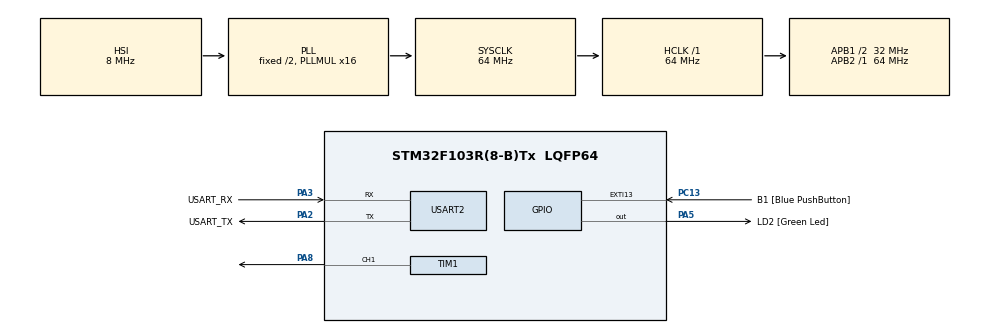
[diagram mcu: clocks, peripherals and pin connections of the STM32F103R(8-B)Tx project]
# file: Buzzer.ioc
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Mcu.Family=STM32F1
Mcu.Name=STM32F103R(8-B)Tx
Mcu.Package=LQFP64
NVIC.EXTI15_10_IRQn=true\:0\:0\:false\:false\:true\:true\:true\:true
NVIC.PriorityGroup=NVIC_PRIORITYGROUP_4
PA13.GPIO_Label=TMS
PA13.Mode=Serial_Wire
PA13.Signal=SYS_JTMS-SWDIO
PA14.GPIO_Label=TCK
PA14.Mode=Serial_Wire
PA14.Signal=SYS_JTCK-SWCLK
PA2.GPIO_Label=USART_TX
PA2.GPIO_Mode=GPIO_MODE_AF_PP
PA2.GPIO_PuPd=GPIO_NOPULL
PA2.GPIO_Speed=GPIO_SPEED_FREQ_LOW
PA2.Mode=Asynchronous
PA2.Signal=USART2_TX
PA3.GPIO_Label=USART_RX
PA3.GPIO_Mode=GPIO_MODE_AF_PP
PA3.GPIO_PuPd=GPIO_NOPULL
PA3.GPIO_Speed=GPIO_SPEED_FREQ_LOW
PA3.Mode=Asynchronous
PA3.Signal=USART2_RX
PA5.GPIO_Label=LD2 [Green Led]
PA5.GPIO_ModeDefaultOutputPP=GPIO_MODE_OUTPUT_PP
PA5.GPIO_PuPd=GPIO_NOPULL
PA5.GPIO_Speed=GPIO_SPEED_FREQ_LOW
PA5.Signal=GPIO_Output
PA8.Signal=S_TIM1_CH1
PB3.GPIO_Label=SWO
PB3.Signal=SYS_JTDO-TRACESWO
PC13-TAMPER-RTC.GPIO_Label=B1 [Blue PushButton]
PC13-TAMPER-RTC.GPIO_PuPd=GPIO_NOPULL
PC13-TAMPER-RTC.Signal=GPXTI13
PC14-OSC32_IN.Signal=RCC_OSC32_IN
PC15-OSC32_OUT.Signal=RCC_OSC32_OUT
PD0-OSC_IN.Signal=RCC_OSC_IN
PD1-OSC_OUT.Signal=RCC_OSC_OUT
ProjectManager.HeapSize=0x200
ProjectManager.StackSize=0x400
ProjectManager.TargetToolchain=STM32CubeIDE
RCC.AHBFreq_Value=64000000
RCC.APB1CLKDivider=RCC_HCLK_DIV2
RCC.APB1Freq_Value=32000000
RCC.APB1TimFreq_Value=64000000
RCC.APB2Freq_Value=64000000
RCC.APB2TimFreq_Value=64000000
RCC.HCLKFreq_Value=64000000
RCC.PLLMUL=RCC_PLL_MUL16
RCC.RTCClockSelection=RCC_RTCCLKSOURCE_LSE
RCC.SYSCLKFreq_VALUE=64000000
RCC.SYSCLKSource=RCC_SYSCLKSOURCE_PLLCLK
RCC.USBFreq_Value=64000000
SH.S_TIM1_CH1.0=TIM1_CH1,PWM Generation1 CH1
TIM1.Channel-PWM\ Generation1\ CH1=TIM_CHANNEL_1
TIM1.Period=1000
TIM1.Prescaler=64-1
TIM1.Pulse-PWM\ Generation1\ CH1=500
USART2.VirtualMode=VM_ASYNC
VP_TIM1_VS_ClockSourceINT.Mode=Internal
board=NUCLEO-F103RB

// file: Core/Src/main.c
/* USER CODE BEGIN Header */
/**
 ******************************************************************************
 * @file           : main.c
 * @brief          : Main program body
 ******************************************************************************
 * @attention
 *
 * Copyright (c) 2025 STMicroelectronics.
 * All rights reserved.
 *
 * This software is licensed under terms that can be found in the LICENSE file
 * in the root directory of this software component.
 * If no LICENSE file comes with this software, it is provided AS-IS.
 *
 ******************************************************************************
 */
/* USER CODE END Header */
#include "main.h"

/* USER CODE BEGIN PD */
// 음표 주파수 정의 (Hz)
#define NOTE_C4  262
#define NOTE_CS4 277
#define NOTE_D4  294
#define NOTE_DS4 311
#define NOTE_E4  330
#define NOTE_F4  349
#define NOTE_FS4 370
#define NOTE_G4  392
#define NOTE_GS4 415
#define NOTE_A4  440
#define NOTE_AS4 466
#define NOTE_B4  494
#define NOTE_C5  523
#define NOTE_CS5 554
#define NOTE_D5  587
#define NOTE_DS5 622
#define NOTE_E5  659
#define NOTE_F5  698
#define NOTE_FS5 740
#define NOTE_G5  784
#define NOTE_GS5 831
#define NOTE_A5  880
#define NOTE_AS5 932
#define NOTE_B5  988
#define NOTE_C6  1047
#define NOTE_CS6 1109
#define NOTE_D6  1175
#define NOTE_DS6 1245
#define NOTE_E6  1319
#define NOTE_F6  1397
#define NOTE_FS6 1480
#define NOTE_G6  1568
#define NOTE_GS6 1661
#define NOTE_A6  1760
#define NOTE_AS6 1865
#define NOTE_B6  1976
#define NOTE_C7  2093
#define NOTE_CS7 2217
#define NOTE_D7  2349
#define NOTE_DS7 2489
#define NOTE_E7  2637
#define NOTE_F7  2794
#define NOTE_FS7 2960
#define NOTE_G7  3136
#define NOTE_GS7 3322
#define NOTE_A7  3520
#define NOTE_AS7 3729
#define NOTE_B7  3951

#define REST 0

// 음표 길이 정의 (밀리초)
#define WHOLE     1400      // 원래 2000
#define HALF      700       // 원래 1000
#define QUARTER   350      // 원래 500
#define EIGHTH    175       // 원래 250
#define SIXTEENTH 90       // 원래 125
/* USER CODE END PD */

TIM_HandleTypeDef htim1;

UART_HandleTypeDef huart2;

/* USER CODE BEGIN PV */
typedef struct {
	uint16_t frequency;
	uint16_t duration;
} Note;

const Note mario_theme[] = {
// 첫 번째 구간
		{ NOTE_E7, EIGHTH }, { NOTE_E7, EIGHTH }, { REST, EIGHTH }, { NOTE_E7,
		EIGHTH }, { REST, EIGHTH }, { NOTE_C7, EIGHTH }, { NOTE_E7,
		EIGHTH }, { REST, EIGHTH }, { NOTE_G7, QUARTER }, { REST,
		QUARTER }, { NOTE_G6, QUARTER }, { REST, QUARTER },

		// 두 번째 구간
		{ NOTE_C7, QUARTER }, { REST, EIGHTH }, { NOTE_G6, EIGHTH }, { REST,
		EIGHTH }, { NOTE_E6, QUARTER }, { REST, EIGHTH }, { NOTE_A6,
		EIGHTH }, { REST, EIGHTH }, { NOTE_B6, EIGHTH }, { REST, EIGHTH }, {
				NOTE_AS6, EIGHTH }, { NOTE_A6, QUARTER },

		// 세 번째 구간
		{ NOTE_G6, EIGHTH }, { NOTE_E7, EIGHTH }, { NOTE_G7, EIGHTH }, {
		NOTE_A7, QUARTER }, { NOTE_F7, EIGHTH }, { NOTE_G7, EIGHTH }, {
		REST, EIGHTH }, { NOTE_E7, EIGHTH }, { REST, EIGHTH }, {
		NOTE_C7, EIGHTH }, { NOTE_D7, EIGHTH }, { NOTE_B6, QUARTER },

		// 반복 구간
		{ NOTE_C7, QUARTER }, { REST, EIGHTH }, { NOTE_G6, EIGHTH }, { REST,
		EIGHTH }, { NOTE_E6, QUARTER }, { REST, EIGHTH }, { NOTE_A6,
		EIGHTH }, { REST, EIGHTH }, { NOTE_B6, EIGHTH }, { REST, EIGHTH }, {
				NOTE_AS6, EIGHTH }, { NOTE_A6, QUARTER },

		{ NOTE_G6, EIGHTH }, { NOTE_E7, EIGHTH }, { NOTE_G7, EIGHTH }, {
		NOTE_A7, QUARTER }, { NOTE_F7, EIGHTH }, { NOTE_G7, EIGHTH }, {
		REST, EIGHTH }, { NOTE_E7, EIGHTH }, { REST, EIGHTH }, {
		NOTE_C7, EIGHTH }, { NOTE_D7, EIGHTH }, { NOTE_B6, QUARTER },

		// 마무리
		{ REST, QUARTER }, { NOTE_G7, EIGHTH }, { NOTE_FS7, EIGHTH }, { NOTE_F7,
		EIGHTH }, { NOTE_DS7, QUARTER }, { NOTE_E7, EIGHTH }, { REST,
		EIGHTH }, { NOTE_GS6, EIGHTH }, { NOTE_A6, EIGHTH }, { NOTE_C7,
		EIGHTH }, { REST, EIGHTH }, { NOTE_A6, EIGHTH }, { NOTE_C7,
		EIGHTH }, { NOTE_D7, EIGHTH } };

const int mario_theme_length = sizeof(mario_theme) / sizeof(mario_theme[0]);

const Note Merry_Christmas[] = {

		{NOTE_E5, EIGHTH }, { NOTE_E5, EIGHTH }, { NOTE_E5, QUARTER }, { NOTE_E5,EIGHTH }, { NOTE_E5, EIGHTH }, { NOTE_E5, QUARTER },
		{NOTE_E5, EIGHTH }, { NOTE_G5, EIGHTH }, { NOTE_C5, EIGHTH }, { NOTE_D5, EIGHTH }, { NOTE_E5, HALF }, { NOTE_F5, EIGHTH },
		{NOTE_F5, EIGHTH }, { NOTE_F5, EIGHTH }, { NOTE_F5, EIGHTH }, { NOTE_F5,EIGHTH }, { NOTE_E5, EIGHTH }, { NOTE_E5, EIGHTH },
		{NOTE_E5, SIXTEENTH }, { NOTE_E5, SIXTEENTH }, { NOTE_E5, EIGHTH }, {NOTE_D5, EIGHTH }, { NOTE_D5, EIGHTH }, { NOTE_E5, EIGHTH },
		{NOTE_D5, QUARTER }, { NOTE_G5, QUARTER }

};
const int merry_christmas_length = sizeof(Merry_Christmas)
		/ sizeof(Merry_Christmas[0]);
/* USER CODE END PV */

void SystemClock_Config(void);
static void MX_GPIO_Init(void);
static void MX_USART2_UART_Init(void);
static void MX_TIM1_Init(void);
/* USER CODE BEGIN PFP */
void play_tone(uint16_t frequency, uint16_t duration);
void play_mario_theme(void);
/* USER CODE END PFP */

/* USER CODE BEGIN 0 */
void play_tone(uint16_t frequency, uint16_t duration) {
	if (frequency == 0) {
		// 무음 처리
		HAL_TIM_PWM_Stop(&htim1, TIM_CHANNEL_1);
	} else {
		// 주파수에 따른 ARR 값 계산
		// APB2 클록이 72MHz이고, Prescaler가 72-1이면 1MHz
		// ARR = 1000000 / frequency - 1
		uint32_t arr_value = 1000000 / frequency - 1;

		// 타이머 설정 업데이트
		__HAL_TIM_SET_AUTORELOAD(&htim1, arr_value);
		__HAL_TIM_SET_COMPARE(&htim1, TIM_CHANNEL_1, arr_value / 2); // 50% duty cycle

		// PWM 시작
		HAL_TIM_PWM_Start(&htim1, TIM_CHANNEL_1);
	}

	// 지정된 시간만큼 대기
	HAL_Delay(duration);

	// 톤 정지
	HAL_TIM_PWM_Stop(&htim1, TIM_CHANNEL_1);

	// 음표 사이의 짧은 간격 (더 빠른 연주를 위해 단축)
	HAL_Delay(100);
}

/**
 * @brief 마리오 테마 음악 재생
 */
void play_mario_theme(void) {
	for (int i = 0; i < mario_theme_length; i++) {
		play_tone(mario_theme[i].frequency, mario_theme[i].duration);
	}
}

void play_merry_christmas(void) {
	for (int i = 0; i < merry_christmas_length; i++) {
		play_tone(Merry_Christmas[i].frequency, Merry_Christmas[i].duration);
	}
}
/* USER CODE END 0 */

int main(void) {

	/* MCU Configuration--------------------------------------------------------*/

	/* Reset of all peripherals, Initializes the Flash interface and the Systick. */
	HAL_Init();

	/* Configure the system clock */
	SystemClock_Config();

	/* Initialize all configured peripherals */
	MX_GPIO_Init();
	MX_USART2_UART_Init();
	MX_TIM1_Init();

	/* Infinite loop */
	/* USER CODE BEGIN WHILE */
	while (1) {
		// 마리오 테마 음악 재생
		//play_mario_theme();
		play_merry_christmas();

		// 음악 종료 후 5초 대기
		HAL_Delay(1);
		/* USER CODE END WHILE */

	}
}

void SystemClock_Config(void) {
	RCC_OscInitTypeDef RCC_OscInitStruct = { 0 };
	RCC_ClkInitTypeDef RCC_ClkInitStruct = { 0 };

	/** Initializes the RCC Oscillators according to the specified parameters
	 * in the RCC_OscInitTypeDef structure.
	 */
	RCC_OscInitStruct.OscillatorType = RCC_OSCILLATORTYPE_HSI;
	RCC_OscInitStruct.HSIState = RCC_HSI_ON;
	RCC_OscInitStruct.HSICalibrationValue = RCC_HSICALIBRATION_DEFAULT;
	RCC_OscInitStruct.PLL.PLLState = RCC_PLL_ON;
	RCC_OscInitStruct.PLL.PLLSource = RCC_PLLSOURCE_HSI_DIV2;
	RCC_OscInitStruct.PLL.PLLMUL = RCC_PLL_MUL16;
	if (HAL_RCC_OscConfig(&RCC_OscInitStruct) != HAL_OK) {
		Error_Handler();
	}

	/** Initializes the CPU, AHB and APB buses clocks
	 */
	RCC_ClkInitStruct.ClockType = RCC_CLOCKTYPE_HCLK | RCC_CLOCKTYPE_SYSCLK
			| RCC_CLOCKTYPE_PCLK1 | RCC_CLOCKTYPE_PCLK2;
	RCC_ClkInitStruct.SYSCLKSource = RCC_SYSCLKSOURCE_PLLCLK;
	RCC_ClkInitStruct.AHBCLKDivider = RCC_SYSCLK_DIV1;
	RCC_ClkInitStruct.APB1CLKDivider = RCC_HCLK_DIV2;
	RCC_ClkInitStruct.APB2CLKDivider = RCC_HCLK_DIV1;

	if (HAL_RCC_ClockConfig(&RCC_ClkInitStruct, FLASH_LATENCY_2) != HAL_OK) {
		Error_Handler();
	}
}

static void MX_TIM1_Init(void) {

	TIM_ClockConfigTypeDef sClockSourceConfig = { 0 };
	TIM_MasterConfigTypeDef sMasterConfig = { 0 };
	TIM_OC_InitTypeDef sConfigOC = { 0 };
	TIM_BreakDeadTimeConfigTypeDef sBreakDeadTimeConfig = { 0 };

	htim1.Instance = TIM1;
	htim1.Init.Prescaler = 64 - 1;
	htim1.Init.CounterMode = TIM_COUNTERMODE_UP;
	htim1.Init.Period = 1000;
	htim1.Init.ClockDivision = TIM_CLOCKDIVISION_DIV1;
	htim1.Init.RepetitionCounter = 0;
	htim1.Init.AutoReloadPreload = TIM_AUTORELOAD_PRELOAD_DISABLE;
	if (HAL_TIM_Base_Init(&htim1) != HAL_OK) {
		Error_Handler();
	}
	sClockSourceConfig.ClockSource = TIM_CLOCKSOURCE_INTERNAL;
	if (HAL_TIM_ConfigClockSource(&htim1, &sClockSourceConfig) != HAL_OK) {
		Error_Handler();
	}
	if (HAL_TIM_PWM_Init(&htim1) != HAL_OK) {
		Error_Handler();
	}
	sMasterConfig.MasterOutputTrigger = TIM_TRGO_RESET;
	sMasterConfig.MasterSlaveMode = TIM_MASTERSLAVEMODE_DISABLE;
	if (HAL_TIMEx_MasterConfigSynchronization(&htim1, &sMasterConfig)
			!= HAL_OK) {
		Error_Handler();
	}
	sConfigOC.OCMode = TIM_OCMODE_PWM1;
	sConfigOC.Pulse = 800;
	sConfigOC.OCPolarity = TIM_OCPOLARITY_HIGH;
	sConfigOC.OCNPolarity = TIM_OCNPOLARITY_HIGH;
	sConfigOC.OCFastMode = TIM_OCFAST_DISABLE;
	sConfigOC.OCIdleState = TIM_OCIDLESTATE_RESET;
	sConfigOC.OCNIdleState = TIM_OCNIDLESTATE_RESET;
	if (HAL_TIM_PWM_ConfigChannel(&htim1, &sConfigOC, TIM_CHANNEL_1)
			!= HAL_OK) {
		Error_Handler();
	}
	sBreakDeadTimeConfig.OffStateRunMode = TIM_OSSR_DISABLE;
	sBreakDeadTimeConfig.OffStateIDLEMode = TIM_OSSI_DISABLE;
	sBreakDeadTimeConfig.LockLevel = TIM_LOCKLEVEL_OFF;
	sBreakDeadTimeConfig.DeadTime = 0;
	sBreakDeadTimeConfig.BreakState = TIM_BREAK_DISABLE;
	sBreakDeadTimeConfig.BreakPolarity = TIM_BREAKPOLARITY_HIGH;
	sBreakDeadTimeConfig.AutomaticOutput = TIM_AUTOMATICOUTPUT_DISABLE;
	if (HAL_TIMEx_ConfigBreakDeadTime(&htim1, &sBreakDeadTimeConfig)
			!= HAL_OK) {
		Error_Handler();
	}
	HAL_TIM_MspPostInit(&htim1);

}

static void MX_USART2_UART_Init(void) {

	huart2.Instance = USART2;
	huart2.Init.BaudRate = 115200;
	huart2.Init.WordLength = UART_WORDLENGTH_8B;
	huart2.Init.StopBits = UART_STOPBITS_1;
	huart2.Init.Parity = UART_PARITY_NONE;
	huart2.Init.Mode = UART_MODE_TX_RX;
	huart2.Init.HwFlowCtl = UART_HWCONTROL_NONE;
	huart2.Init.OverSampling = UART_OVERSAMPLING_16;
	if (HAL_UART_Init(&huart2) != HAL_OK) {
		Error_Handler();
	}

}

static void MX_GPIO_Init(void) {
	GPIO_InitTypeDef GPIO_InitStruct = { 0 };

	/* GPIO Ports Clock Enable */
	__HAL_RCC_GPIOC_CLK_ENABLE();
	__HAL_RCC_GPIOD_CLK_ENABLE();
	__HAL_RCC_GPIOA_CLK_ENABLE();
	__HAL_RCC_GPIOB_CLK_ENABLE();

	/*Configure GPIO pin Output Level */
	HAL_GPIO_WritePin(LD2_GPIO_Port, LD2_Pin, GPIO_PIN_RESET);

	/*Configure GPIO pin : B1_Pin */
	GPIO_InitStruct.Pin = B1_Pin;
	GPIO_InitStruct.Mode = GPIO_MODE_IT_RISING;
	GPIO_InitStruct.Pull = GPIO_NOPULL;
	HAL_GPIO_Init(B1_GPIO_Port, &GPIO_InitStruct);

	/*Configure GPIO pin : LD2_Pin */
	GPIO_InitStruct.Pin = LD2_Pin;
	GPIO_InitStruct.Mode = GPIO_MODE_OUTPUT_PP;
	GPIO_InitStruct.Pull = GPIO_NOPULL;
	GPIO_InitStruct.Speed = GPIO_SPEED_FREQ_LOW;
	HAL_GPIO_Init(LD2_GPIO_Port, &GPIO_InitStruct);

	/* EXTI interrupt init*/
	HAL_NVIC_SetPriority(EXTI15_10_IRQn, 0, 0);
	HAL_NVIC_EnableIRQ(EXTI15_10_IRQn);

}

void Error_Handler(void) {
	__disable_irq();
	while (1) {
	}
}
